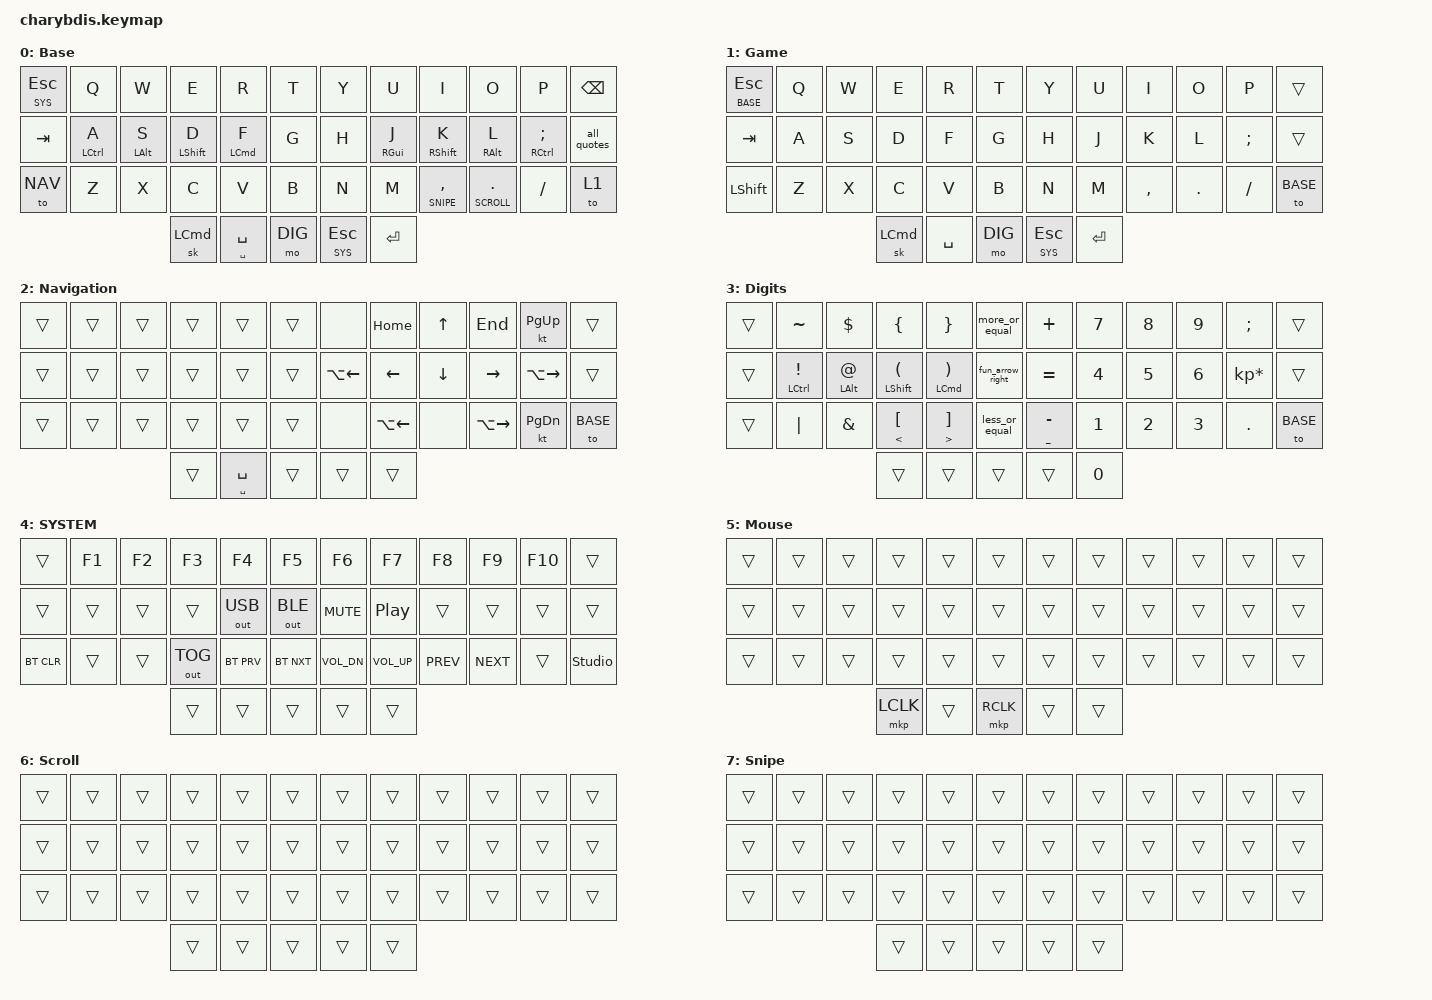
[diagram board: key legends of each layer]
#include <behaviors.dtsi>
#include <dt-bindings/zmk/bt.h>
#include <dt-bindings/zmk/keys.h>
#include <dt-bindings/zmk/mouse.h>
#include <dt-bindings/zmk/outputs.h>
#include <behaviors/mouse_keys.dtsi>
#include <dt-bindings/zmk/ext_power.h>
#include <input/processors.dtsi>
#include <dt-bindings/zmk/input_transform.h>
#include <zephyr/dt-bindings/input/input-event-codes.h>

#define QUICK_TAP_MS 175
#include "zmk-helpers/helper.h"
#include "zmk-helpers/key-labels/42.h"

#define KEYS_L 0 1 2 3 4 5 12 13 14 15 16 17 24 25 26 27 28 29 36 37 38 19 20 21 22  // Left-hand keys.
#define KEYS_R 6 7 8 9 10 11 18 19 20 21 22 23 30 31 32 33 34 35 39 40 16 15 14 13  // Right-hand keys.
#define THUMBS 36 37 38 39 40  // Thumb keys.

#define BASE 0
#define GAME 1
#define NAV  2
#define DIG  3
#define SYS  4
#define MOUSE  5
#define SCROLL 6
#define SNIPE 7

&sk {  // sticky-key config
    release-after-ms = <900>;  // release after 0.9s
    quick-release;             // no double capitalization when rolling keys
};

&sl {  // sticky-layer config
    ignore-modifiers;          // allow chording sticky mods & layers
};

&lt {  // layer-tap config
    flavor = "balanced";
    tapping-term-ms = <200>;
    quick-tap-ms = <QUICK_TAP_MS>;
};

&mt {  // mod-tap config
    flavor = "balanced";
    tapping-term-ms = <200>;
    quick-tap-ms = <QUICK_TAP_MS>;
};

/ {

    behaviors {
        hm_right: homerow_mod_right {
            compatible = "zmk,behavior-hold-tap";
            #binding-cells = <2>;
            flavor = "balanced";
            tapping-term-ms = <280>;
            quick-tap-ms = <200>;
            require-prior-idle-ms = <150>;
            bindings = <&kp>, <&kp>;

            hold-trigger-key-positions = <0 1 2 3 4 5 12 13 14 15 16 17 24 25 26 27 28 29 36 37 38 19 20 21 22 36 37 38 39 40>;
        };

        hm_left: homerow_mod_left {
            compatible = "zmk,behavior-hold-tap";
            #binding-cells = <2>;
            flavor = "balanced";
            tapping-term-ms = <280>;
            quick-tap-ms = <200>;
            require-prior-idle-ms = <150>;
            bindings = <&kp>, <&kp>;

            hold-trigger-key-positions = <6 7 8 9 10 11 18 19 20 21 22 23 30 31 32 33 34 35 39 40 16 15 14 13 36 37 38 39 40>;
        };

        hm_right_layer: homerow_mod_right_layer {
            compatible = "zmk,behavior-hold-tap";
            #binding-cells = <2>;
            flavor = "balanced";
            tapping-term-ms = <280>;
            quick-tap-ms = <200>;
            require-prior-idle-ms = <150>;
            bindings = <&mo>, <&kp>;

            hold-trigger-key-positions = <0 1 2 3 4 5 12 13 14 15 16 17 24 25 26 27 28 29 36 37 38 19 20 21 22 36 37 38 39 40>;
        };

        hm_left_layer: homerow_mod_left_layer {
            compatible = "zmk,behavior-hold-tap";
            #binding-cells = <2>;
            flavor = "balanced";
            tapping-term-ms = <280>;
            quick-tap-ms = <200>;
            require-prior-idle-ms = <150>;
            bindings = <&mo>, <&kp>;

            hold-trigger-key-positions = <6 7 8 9 10 11 18 19 20 21 22 23 30 31 32 33 34 35 39 40 16 15 14 13 36 37 38 39 40>;
        };

        comment_or: comment_or {
            compatible = "zmk,behavior-hold-tap";
            label = "slash_or_comm";
            bindings = <&comment>, <&kp>;

            #binding-cells = <2>;
            tapping-term-ms = <200>;
            flavor = "tap-preferred";
        };

        all_quotes: all_quotes {
            compatible = "zmk,behavior-tap-dance";
            #binding-cells = <0>;
            tapping-term-ms = <200>;
            bindings = <&mt GRAVE SQT>, <&kp DOUBLE_QUOTES>;
        };

        space_or_super: space_or_super {
            compatible = "zmk,behavior-hold-tap";
            #binding-cells = <2>;
            flavor = "tap-preferred";
            tapping-term-ms = <250>;
            quick-tap-ms = <150>;
            require-prior-idle-ms = <125>;
            bindings = <&super>, <&kp>;
        };
    };

    combos {
        compatible = "zmk,combos";

        backspace {
            bindings = <&kp BACKSPACE>;
            key-positions = <8 9>;
            timeout-ms = <50>;
            require-prior-idle-ms = <50>;
        };

        opt_backspace {
            bindings = <&kp LA(BACKSPACE)>;
            key-positions = <7 8 9>;
            timeout-ms = <70>;
            require-prior-idle-ms = <100>;
        };

        shift {
            bindings = <&sk LEFT_SHIFT>;
            key-positions = <15 16>;
            timeout-ms = <50>;
            require-prior-idle-ms = <150>;
        };

        caps_lock {
            bindings = <&caps_word>;
            key-positions = <14 15 16>;
            timeout-ms = <100>;
            require-prior-idle-ms = <150>;
        };
    };

    macros {
        /**
       * Temporarily switches to a layer (`&mo`) while a modifier is held.
       * Analogous to QMK's `LM()`, using a parameterized macro.
       *
       * Params:
       *  1. Layer to switch to
       *  2. Modifier to press while layer is active
       *
       * Example:
       *  `&lm NUM_LAYER LSHIFT`
       */

        lm: lm {
            compatible = "zmk,behavior-macro-two-param";
            wait-ms = <0>;
            tap-ms = <0>;
            #binding-cells = <2>;
            bindings =
                <&macro_param_1to1>,
                <&macro_press>,
                <&mo MACRO_PLACEHOLDER &macro_param_2to1>,
                <&macro_press>,
                <&kp MACRO_PLACEHOLDER>,
                <&macro_pause_for_release>,
                <&macro_param_2to1>,
                <&macro_release>,
                <&kp MACRO_PLACEHOLDER &macro_param_1to1>,
                <&macro_release>,
                <&mo MACRO_PLACEHOLDER>;
        };

        press_two_keys: press_two_keys {
            compatible = "zmk,behavior-macro-two-param";
            wait-ms = <0>;
            tap-ms = <0>;
            #binding-cells = <2>;
            bindings =
                <&macro_param_1to1>,
                <&macro_tap>,
                <&kp MACRO_PLACEHOLDER &macro_param_2to1>,
                <&macro_tap>,
                <&kp MACRO_PLACEHOLDER>;
        };

        super: super {
            compatible = "zmk,behavior-macro";
            #binding-cells = <0>;
            bindings =
                <&macro_press>,
                <&kp LGUI>,
                <&macro_press>,
                <&kp LALT>,
                <&macro_press>,
                <&kp LCTL>,
                <&macro_pause_for_release>,
                <&macro_release>,
                <&kp LGUI>,
                <&macro_release>,
                <&kp LALT>,
                <&macro_release>,
                <&kp LCTL>;
        };

        more_or_equal: more_or_equal {
            compatible = "zmk,behavior-macro";
            #binding-cells = <0>;
            bindings = <&kp MINUS &kp GT>;
            label = "MORE_OR_EQUAL";
        };

        less_or_equal: less_or_equal {
            compatible = "zmk,behavior-macro";
            #binding-cells = <0>;
            bindings = <&kp LT &kp EQUAL>;
            label = "LESS_OR_EQUAL";
        };

        fun_arrow_right: fun_arrow_right {
            compatible = "zmk,behavior-macro";
            #binding-cells = <0>;
            bindings = <&kp MINUS &kp GT>;
            label = "FUN_ARROW_RIGHT";
        };

        comment: comment {
            compatible = "zmk,behavior-macro";
            #binding-cells = <0>;
            bindings = <&kp FSLH &kp STAR>;
            label = "MACROS_COMMENT";
        };
    };

    /omit-if-no-ref/ zip_temp_layer: zip_temp_layer {
        compatible = "zmk,input-processor-temp-layer";
        #input-processor-cells = <2>;
        require-prior-idle-ms = <1000>;
    };

    /omit-if-no-ref/ vertical_scroll_mapper: vertical_scroll_mapper {
        compatible = "zmk,input-processor-code-mapper";
        #input-processor-cells = <0>;
        type = <INPUT_EV_REL>;
        map
            = <INPUT_REL_Y INPUT_REL_WHEEL>
            ;
    };



    trackball_listener {
        compatible = "zmk,input-listener";
        device = <&vtrackball>;
        // scaler: first is multiplier, second one is divider.
        // temp layer: first argument is layer, second is time in ms
        input-processors = <&zip_xy_scaler 1 6>, <&zip_temp_layer MOUSE 1000>;

        snipe {
            layers = <SNIPE>;
            input-processors = <&zip_xy_scaler 1 18>;
        };

        scroll {
            layers = <SCROLL>;
            // scaler: first is multiplier, second one is divider.
            input-processors = <&zip_y_scaler 1 9999>, <&zip_xy_to_scroll_mapper>, <&zip_scroll_scaler 1 72>;
        };
    };


/*                                      42 KEY MATRIX / LAYOUT MAPPING

  ╭────────────────────────┬────────────────────────╮ ╭─────────────────────────┬─────────────────────────╮
  │  0   1   2   3   4   5 │  6   7   8   9  10  11 │ │ LT5 LT4 LT3 LT2 LT1 LT0 │ RT0 RT1 RT2 RT3 RT4 RT5 │
  │ 12  13  14  15  16  17 │ 18  19  20  21  22  23 │ │ LM5 LM4 LM3 LM2 LM1 LM0 │ RM0 RM1 RM2 RM3 RM4 RM5 │
  │ 24  25  26  27  28  29 │ 30  31  32  33  34  35 │ │ LB5 LB4 LB3 LB2 LB1 LB0 │ RB0 RB1 RB2 RB3 RB4 RB5 │
  ╰───────────╮ 36  37  38 │ 39  40  41 ╭───────────╯ ╰───────────╮ LH2 LH1 LH0 │ RH0 RH1 RH2 ╭───────────╯
              ╰────────────┴────────────╯                         ╰─────────────┴─────────────╯             */

    keymap {
        compatible = "zmk,keymap";

        BASE {
            label = "Base";
            bindings = <
&lt SYS ESC  &kp Q             &kp W                &kp E             &kp R                        &kp T      &kp Y        &kp U                  &kp I                        &kp O                       &kp P                      &kp BACKSPACE
&kp TAB      &hm_left LCTRL A  &hm_left LEFT_ALT S  &hm_left LSHFT D  &hm_left LEFT_COMMAND F      &kp G      &kp H        &hm_right RIGHT_GUI J  &hm_right RSHFT K            &hm_right RIGHT_ALT L       &hm_right RCTRL SEMICOLON  &all_quotes
&to NAV      &kp Z             &kp X                &kp C             &kp V                        &kp B      &kp N        &kp M                  &hm_right_layer SNIPE COMMA  &hm_right_layer SCROLL DOT  &kp SLASH                  &to 1
                                                    &sk LEFT_COMMAND  &space_or_super SPACE SPACE  &mo DIG    &lt SYS ESC  &kp RET
            >;
        };

        GAME {
            label = "Game";
            bindings = <
&lt BASE ESC  &kp Q  &kp W  &kp E             &kp R      &kp T      &kp Y        &kp U    &kp I      &kp O    &kp P          &trans
&kp TAB       &kp A  &kp S  &kp D             &kp F      &kp G      &kp H        &kp J    &kp K      &kp L    &kp SEMICOLON  &trans
&kp LSHFT     &kp Z  &kp X  &kp C             &kp V      &kp B      &kp N        &kp M    &kp COMMA  &kp DOT  &kp SLASH      &to BASE
                            &sk LEFT_COMMAND  &kp SPACE  &mo DIG    &lt SYS ESC  &kp RET
            >;
        };

        Navigation {
            label = "Navigation";
            bindings = <
&trans  &trans  &trans  &trans  &trans                       &trans    &none         &kp HOME      &kp UP    &kp END        &kt PAGE_UP    &trans
&trans  &trans  &trans  &trans  &trans                       &trans    &kp LA(LEFT)  &kp LEFT      &kp DOWN  &kp RIGHT      &kp LA(RIGHT)  &trans
&trans  &trans  &trans  &trans  &trans                       &trans    &none         &kp LA(LEFT)  &none     &kp LA(RIGHT)  &kt PAGE_DOWN  &to BASE
                        &trans  &space_or_super SPACE SPACE  &trans    &trans        &trans
            >;
        };

        digits {
            label = "Digits";
            bindings = <
&trans  &kp TILDE                   &kp DOLLAR                 &kp LEFT_BRACE                   &kp RIGHT_BRACE                          &more_or_equal      &kp PLUS         &kp N7  &kp N8  &kp N9  &kp SEMICOLON    &trans
&trans  &hm_left LCTRL EXCLAMATION  &hm_left LEFT_ALT AT_SIGN  &hm_left LSHFT LEFT_PARENTHESIS  &hm_left LEFT_COMMAND RIGHT_PARENTHESIS  &fun_arrow_right    &kp EQUAL        &kp N4  &kp N5  &kp N6  &kp KP_MULTIPLY  &trans
&trans  &kp PIPE                    &kp AMPERSAND              &mt LESS_THAN LEFT_BRACKET       &mt GREATER_THAN RIGHT_BRACKET           &less_or_equal      &mt UNDER MINUS  &kp N1  &kp N2  &kp N3  &kp PERIOD       &to BASE
                                                               &trans                           &trans                                   &trans              &trans           &kp N0
            >;
        };

        system {
            label = "SYSTEM";
            bindings = <
&trans      &kp F1  &kp F2  &kp F3        &kp F4        &kp F5          &kp F6        &kp F7        &kp F8      &kp F9      &kp F10  &trans
&trans      &trans  &trans  &trans        &out OUT_USB  &out OUT_BLE    &kp C_MUTE    &kp C_PP      &trans      &trans      &trans   &trans
&bt BT_CLR  &trans  &trans  &out OUT_TOG  &bt BT_PRV    &bt BT_NXT      &kp C_VOL_DN  &kp C_VOL_UP  &kp C_PREV  &kp C_NEXT  &trans   &studio_unlock
                            &trans        &trans        &trans          &trans        &trans
            >;
        };

        AUTO-MOUSE {
            label = "Mouse";
            bindings = <
&trans  &trans  &trans  &trans     &trans  &trans       &trans  &trans  &trans  &trans  &trans  &trans
&trans  &trans  &trans  &trans     &trans  &trans       &trans  &trans  &trans  &trans  &trans  &trans
&trans  &trans  &trans  &trans     &trans  &trans       &trans  &trans  &trans  &trans  &trans  &trans
                        &mkp LCLK  &trans  &mkp RCLK    &trans  &trans
            >;
        };

        SCROLL {
            label = "Scroll";
            bindings = <
&trans  &trans  &trans  &trans  &trans  &trans    &trans  &trans  &trans  &trans  &trans  &trans
&trans  &trans  &trans  &trans  &trans  &trans    &trans  &trans  &trans  &trans  &trans  &trans
&trans  &trans  &trans  &trans  &trans  &trans    &trans  &trans  &trans  &trans  &trans  &trans
                        &trans  &trans  &trans    &trans  &trans
            >;
        };

        SNIPE {
            label = "Snipe";
            bindings = <
&trans  &trans  &trans  &trans  &trans  &trans    &trans  &trans  &trans  &trans  &trans  &trans
&trans  &trans  &trans  &trans  &trans  &trans    &trans  &trans  &trans  &trans  &trans  &trans
&trans  &trans  &trans  &trans  &trans  &trans    &trans  &trans  &trans  &trans  &trans  &trans
                        &trans  &trans  &trans    &trans  &trans
            >;
        };
    };
};
